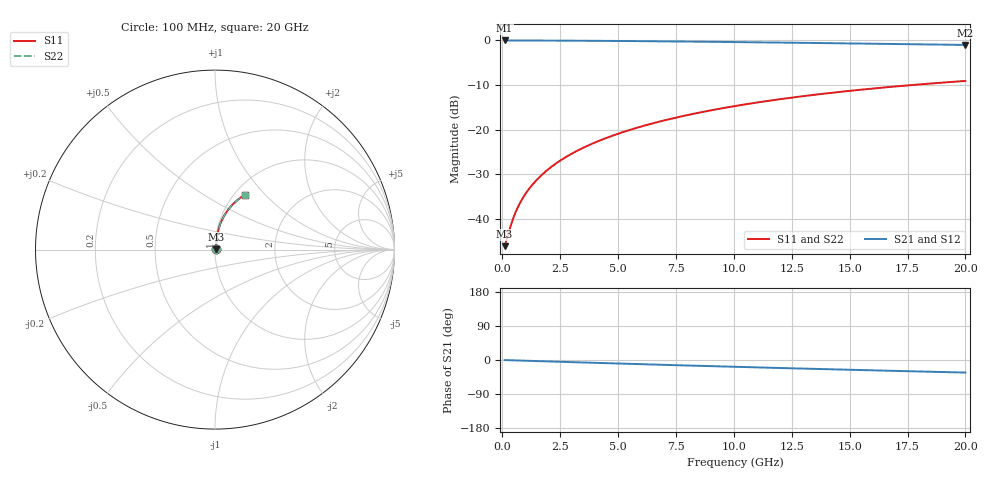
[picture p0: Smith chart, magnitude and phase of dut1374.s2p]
! Touchstone file exported from HFSS 2024.1.0
!  File:  C:/UserFiles/LocalFiles/RDL_TSV_Batchsim/temp_RDL_bottom_1374_1780371257.aedt
!  Generated:  11:36:43 AM Jun  2, 2026
!  Design:  RDL_bottom
!  Project:  temp_RDL_bottom_1374_1780371257
!  Setup:  Setup1
!  Solution:  Sweep
! Variables:
!  dtsv = 10.80580581um
!  hbump = 3um
!  htsv = 68.86um
!  ldown = 434.44um
!  lrdl = 100um
!  p = 40
!  p1 = 43.88um
!  rhole = 1um
!  t = 450um
!  tdown = 2.09um
!  trdl = 3.915915916um
!  wdown = 17.19um
!  wrdl = 20um
# GHz S MA R 50.000000
! Terminal data exported
! Port[1] = RDL1_T1
! Port[2] = RDL1_T2
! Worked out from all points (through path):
!   200 points, 100 MHz to 20 GHz, reference 50 ohm
!   highest |S21| = -0.04 dB at 100 MHz (marker M1); lowest = -1.0 dB at 20 GHz (marker M2)
!   group delay of S21, straight-line fit = 4.59 ps
!   lowest |S11| = -46.1 dB at 100 MHz (marker M3), VSWR 1.01, Z = 50.5 + j0.193 ohm
!   |S11| at or under -10 dB: start of sweep to 17.76 GHz
!   |S22| runs from -46.1 to -9.1 dB; largest |S21 - S12| = 3.1e-15
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0.1  0.004933 22.8  0.9954 -0.2  0.9954 -0.2  0.004933 22.8
! Gamma 0 0 0 0
! Port Impedance 50 0 50 0
0.4  0.008954 57.3  0.9951 -0.8  0.9951 -0.8  0.008954 57.3
0.5  0.01059 62.0  0.995 -1.0  0.995 -1.0  0.01059 62.0
0.6  0.01226 65.3  0.9948 -1.2  0.9948 -1.2  0.01226 65.3
0.7  0.01394 67.8  0.9946 -1.4  0.9946 -1.4  0.01394 67.8
0.9  0.01731 71.4  0.9943 -1.7  0.9943 -1.7  0.01731 71.4
1.2  0.02239 74.7  0.9938 -2.3  0.9938 -2.3  0.02239 74.7
1.4  0.02579 76.2  0.9934 -2.7  0.9934 -2.7  0.02579 76.2
1.7  0.03093 77.9  0.9928 -3.2  0.9928 -3.2  0.03093 77.9
2.2  0.03958 79.6  0.9918 -4.2  0.9918 -4.2  0.03958 79.6
2.8  0.05009 80.7  0.9902 -5.3  0.9902 -5.3  0.05009 80.7
3.5  0.06253 81.3  0.9881 -6.6  0.9881 -6.6  0.06253 81.3
4.2  0.07512 81.4  0.9856 -7.9  0.9856 -7.9  0.07512 81.4
5  0.08969 81.2  0.9824 -9.3  0.9824 -9.3  0.08968 81.2
5.9  0.1062 80.6  0.9783 -10.9  0.9783 -10.9  0.1062 80.6
6.8  0.1229 79.8  0.9738 -12.5  0.9738 -12.5  0.1229 79.8
8.4  0.1527 78.0  0.9651 -15.2  0.9651 -15.2  0.1527 78.0
10.1  0.1843 75.7  0.9549 -18.1  0.9549 -18.1  0.1842 75.7
11.7  0.2134 73.4  0.9448 -20.7  0.9448 -20.7  0.2134 73.4
13.4  0.2437 70.9  0.9335 -23.3  0.9335 -23.3  0.2436 70.9
16.7  0.2993 65.9  0.9105 -28.4  0.9105 -28.4  0.2993 65.9
20  0.3503 61.1  0.8868 -33.2  0.8868 -33.2  0.3503 61.1
